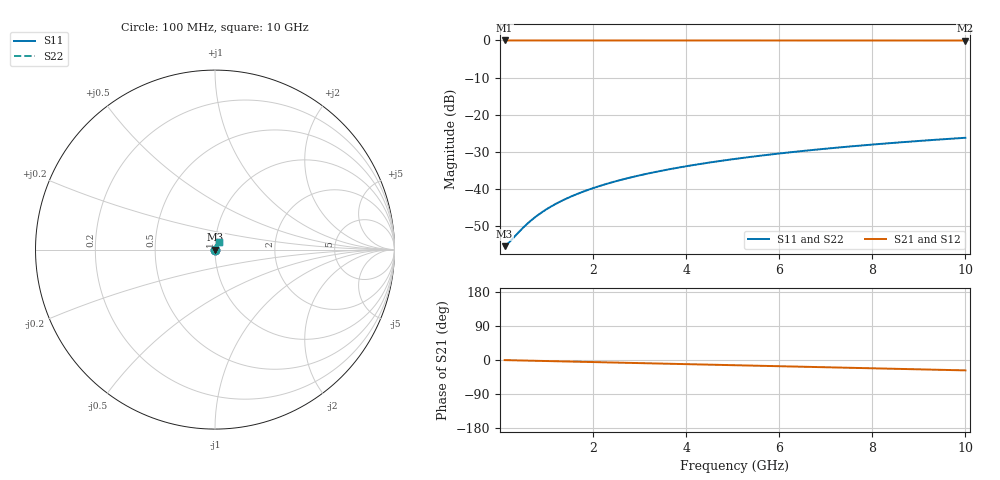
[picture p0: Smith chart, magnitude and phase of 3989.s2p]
# Hz S RI R 50.00
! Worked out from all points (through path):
!   100 points, 100 MHz to 10 GHz, reference 50 ohm
!   highest |S21| = -0.01 dB at 100 MHz (marker M1); lowest = 0.0 dB at 10 GHz (marker M2)
!   group delay of S21, straight-line fit = 7.61 ps
!   lowest |S11| = -55.3 dB at 100 MHz (marker M3), VSWR 1.00, Z = 50.2 + j0.0504 ohm
!   |S11| at or under -10 dB: start of sweep to end of sweep
!   |S22| runs from -55.3 to -26.2 dB; largest |S21 - S12| = 0
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1e8  0.00163 0.000502  0.9984 -0.00475  0.9984 -0.00475  0.00163 0.000502
2e8  0.00165 0.001  0.9983 -0.0095  0.9983 -0.0095  0.00165 0.001
4e8  0.00169 0.00201  0.9981 -0.019  0.9981 -0.019  0.00169 0.00201
5e8  0.00171 0.00251  0.998 -0.0237  0.998 -0.0237  0.00171 0.00251
6e8  0.00174 0.00301  0.9979 -0.0285  0.9979 -0.0285  0.00174 0.00301
7e8  0.00178 0.00351  0.9978 -0.0332  0.9978 -0.0332  0.00178 0.00351
9e8  0.00186 0.00451  0.9974 -0.0427  0.9974 -0.0427  0.00186 0.00451
1.1e9  0.00196 0.00551  0.9969 -0.0522  0.9969 -0.0522  0.00196 0.00551
1.3e9  0.00208 0.00651  0.9963 -0.0617  0.9963 -0.0617  0.00208 0.00651
1.5e9  0.00221 0.0075  0.9957 -0.0712  0.9957 -0.0712  0.00221 0.0075
1.8e9  0.00245 0.00898  0.9946 -0.0854  0.9946 -0.0854  0.00245 0.00898
2.1e9  0.00273 0.0105  0.9932 -0.0996  0.9932 -0.0996  0.00273 0.0105
2.5e9  0.00317 0.0124  0.9911 -0.1185  0.9911 -0.1185  0.00317 0.0124
2.9e9  0.00368 0.0143  0.9886 -0.1374  0.9886 -0.1374  0.00368 0.0143
3.4e9  0.00443 0.0167  0.985 -0.1609  0.985 -0.1609  0.00443 0.0167
4.2e9  0.00585 0.0205  0.978 -0.1984  0.978 -0.1984  0.00585 0.0205
5.1e9  0.00779 0.0245  0.9685 -0.2402  0.9685 -0.2402  0.00779 0.0245
5.9e9  0.00981 0.028  0.9584 -0.277  0.9584 -0.277  0.00981 0.028
6.7e9  0.0121 0.0313  0.947 -0.3135  0.947 -0.3135  0.0121 0.0313
7.5e9  0.0146 0.0344  0.9341 -0.3495  0.9341 -0.3495  0.0146 0.0344
8.4e9  0.0177 0.0376  0.9179 -0.3894  0.9179 -0.3894  0.0177 0.0376
1e10  0.024 0.0428  0.8849 -0.4587  0.8849 -0.4587  0.024 0.0428
